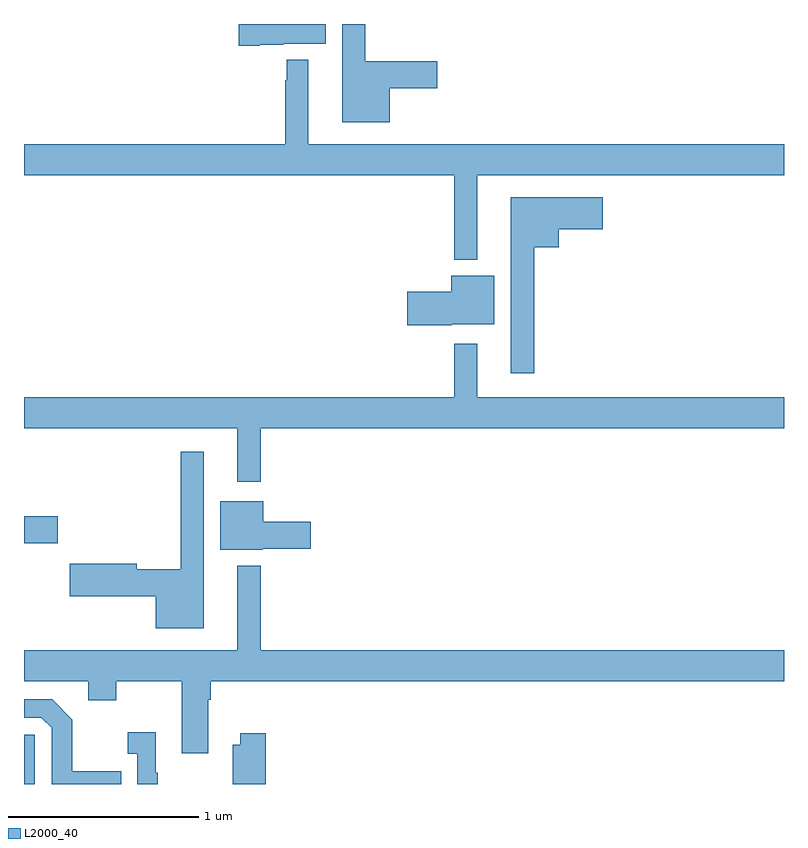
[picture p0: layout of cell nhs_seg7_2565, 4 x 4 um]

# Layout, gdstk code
import gdstk
lib = gdstk.Library(unit=1e-6, precision=1e-09)
def R(c, l, rs):  # rectangles x0, y0, x1, y1
    for r in rs: c.add(gdstk.rectangle(r[:2], r[2:], *l))
def P(c, l, *ps):  # polygons
    for p in ps: c.add(gdstk.Polygon(p, *l))
L2000_40 = (2000, 40)

nhs_seg7_2565 = lib.new_cell('nhs_seg7_2565')
R(nhs_seg7_2565, L2000_40, [(277,1076,277.056,1076.259), (277,1077.266,277.177,1077.408)])
P(nhs_seg7_2565, L2000_40, [(278.926,1079.662),(279.175,1079.662),(279.175,1079.804),(278.797,1079.804),(278.797,1080),(278.675,1080),(278.675,1079.483),(278.926,1079.483)],
  [(278.242,1079.891),(278.364,1079.891),(278.364,1079.897),(278.587,1079.897),(278.587,1080),(278.13,1080),(278.13,1079.885),(278.242,1079.885)],
  [(279.385,1079.204),(281,1079.204),(281,1079.368),(278.497,1079.368),(278.497,1079.812),(278.383,1079.812),(278.383,1079.705),(278.376,1079.705),(278.376,1079.368),(277,1079.368),(277,1079.204),(279.264,1079.204),(279.264,1078.76),(279.385,1078.76)],
  [(279.685,1078.826),(279.814,1078.826),(279.814,1078.919),(280.045,1078.919),(280.045,1079.089),(279.563,1079.089),(279.563,1078.161),(279.685,1078.161)],
  [(279.252,1078.421),(279.475,1078.421),(279.475,1078.675),(279.248,1078.675),(279.248,1078.592),(279.018,1078.592),(279.018,1078.414),(279.252,1078.414)],
  [(278.245,1077.872),(281,1077.872),(281,1078.036),(279.385,1078.036),(279.385,1078.318),(279.264,1078.318),(279.264,1078.036),(277,1078.036),(277,1077.872),(278.123,1077.872),(278.123,1077.591),(278.245,1077.591)],
  [(277.945,1077.748),(277.824,1077.748),(277.824,1077.13),(277.594,1077.13),(277.594,1077.158),(277.242,1077.158),(277.242,1076.987),(277.694,1076.987),(277.694,1076.819),(277.945,1076.819)],
  [(278.256,1077.239),(278.509,1077.239),(278.509,1077.381),(278.26,1077.381),(278.26,1077.487),(278.033,1077.487),(278.033,1077.233),(278.256,1077.233)],
  [(277.969,1076.444),(277.982,1076.444),(277.982,1076.54),(281,1076.54),(281,1076.704),(278.245,1076.704),(278.245,1077.148),(278.123,1077.148),(278.123,1076.704),(277,1076.704),(277,1076.54),(277.337,1076.54),(277.337,1076.441),(277.485,1076.441),(277.485,1076.54),(277.829,1076.54),(277.829,1076.163),(277.969,1076.163)],
  [(277.511,1076.067),(277.255,1076.067),(277.255,1076.339),(277.149,1076.445),(277,1076.445),(277,1076.349),(277.092,1076.349),(277.146,1076.295),(277.146,1076),(277.511,1076)],
  [(277.705,1076.059),(277.693,1076.059),(277.693,1076.272),(277.545,1076.272),(277.545,1076.159),(277.596,1076.159),(277.596,1076),(277.705,1076)],
  [(278.273,1076.266),(278.138,1076.266),(278.138,1076.206),(278.098,1076.206),(278.098,1076),(278.273,1076)])

lib.write_gds('nhs_seg7_2565.gds')
